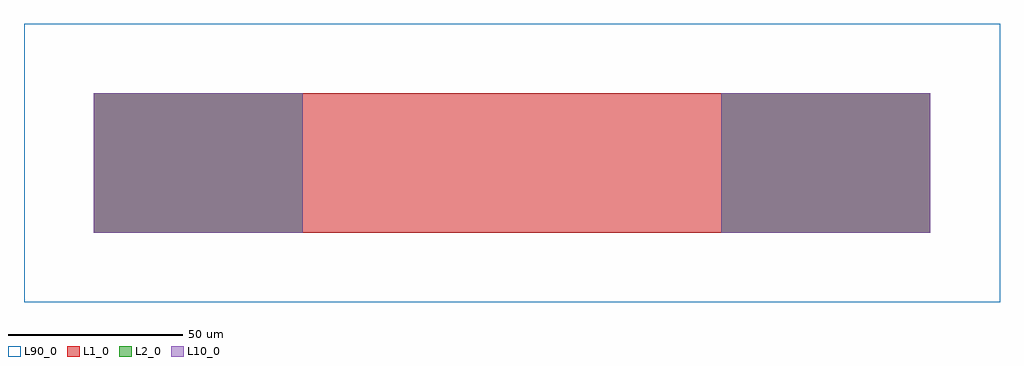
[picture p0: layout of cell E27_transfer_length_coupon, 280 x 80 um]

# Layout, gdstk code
import gdstk
lib = gdstk.Library(unit=1e-6, precision=1e-09)
def R(c, l, rs):  # rectangles x0, y0, x1, y1
    for r in rs: c.add(gdstk.rectangle(r[:2], r[2:], *l))
L1_0 = (1, 0)
L2_0 = (2, 0)
L10_0 = (10, 0)
L90_0 = (90, 0)

e27_transfer_length_coup = lib.new_cell('E27_transfer_length_coupon')
R(e27_transfer_length_coup, L1_0, [(0,0,240,40)])
R(e27_transfer_length_coup, L2_0, [(0,0,60,40), (180,0,240,40)])
R(e27_transfer_length_coup, L10_0, [(0,0,60,40), (180,0,240,40)])
R(e27_transfer_length_coup, L90_0, [(-20,-20,260,60)])

lib.write_gds('E27_transfer_length_coupon.gds')
